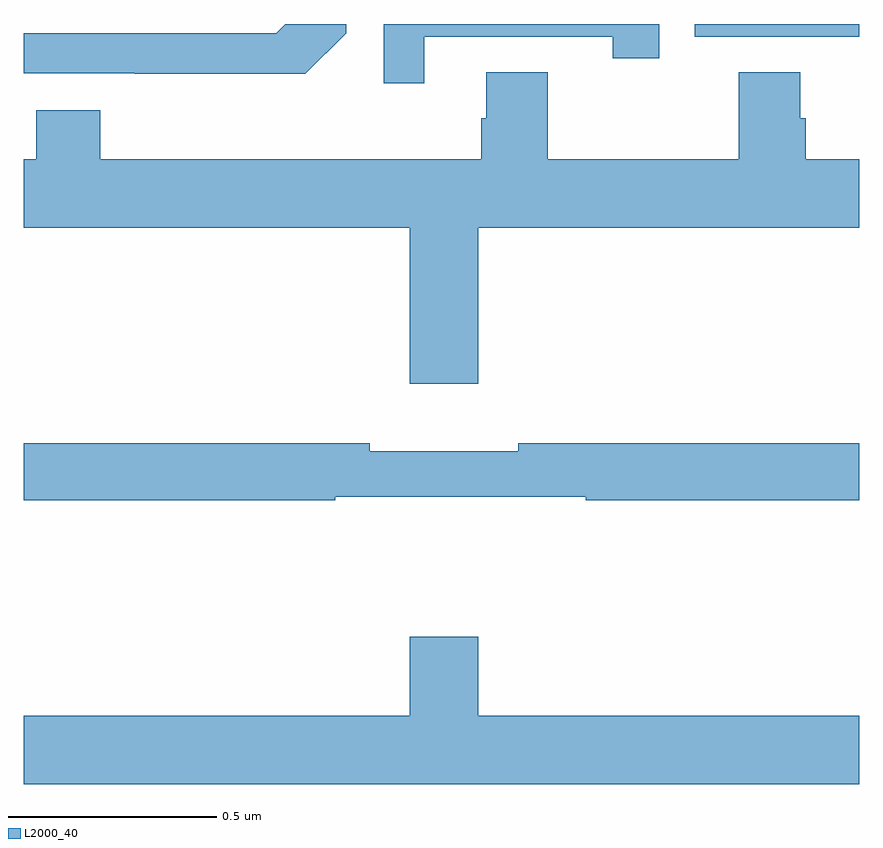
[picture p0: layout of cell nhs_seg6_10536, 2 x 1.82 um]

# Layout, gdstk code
import gdstk
lib = gdstk.Library(unit=1e-6, precision=1e-09)
def R(c, l, rs):  # rectangles x0, y0, x1, y1
    for r in rs: c.add(gdstk.rectangle(r[:2], r[2:], *l))
def P(c, l, *ps):  # polygons
    for p in ps: c.add(gdstk.Polygon(p, *l))
L2000_40 = (2000, 40)

nhs_seg6_10536 = lib.new_cell('nhs_seg6_10536')
R(nhs_seg6_10536, L2000_40, [(249.606,938.469,250,938.5)])
P(nhs_seg6_10536, L2000_40, [(248.772,938.478),(248.772,938.5),(248.626,938.5),(248.604,938.478),(248,938.478),(248,938.382),(248.266,938.382),(248.266,938.381),(248.674,938.381)],
  [(248.959,938.469),(249.41,938.469),(249.41,938.418),(249.521,938.418),(249.521,938.5),(248.862,938.5),(248.862,938.358),(248.959,938.358)],
  [(249.712,938.384),(249.712,938.176),(249.255,938.176),(249.255,938.384),(249.107,938.384),(249.107,938.274),(249.095,938.274),(249.095,938.176),(248.183,938.176),(248.183,938.293),(248.03,938.293),(248.03,938.176),(248,938.176),(248,938.012),(248.924,938.012),(248.924,937.638),(249.088,937.638),(249.088,938.012),(250,938.012),(250,938.176),(249.872,938.176),(249.872,938.274),(249.859,938.274),(249.859,938.384)],
  [(248.745,937.368),(249.345,937.368),(249.345,937.36),(250,937.36),(250,937.496),(249.184,937.496),(249.184,937.477),(248.828,937.477),(248.828,937.496),(248,937.496),(248,937.36),(248.745,937.36)],
  [(250,936.844),(249.088,936.844),(249.088,937.033),(248.924,937.033),(248.924,936.844),(248,936.844),(248,936.68),(250,936.68)])

lib.write_gds('nhs_seg6_10536.gds')
